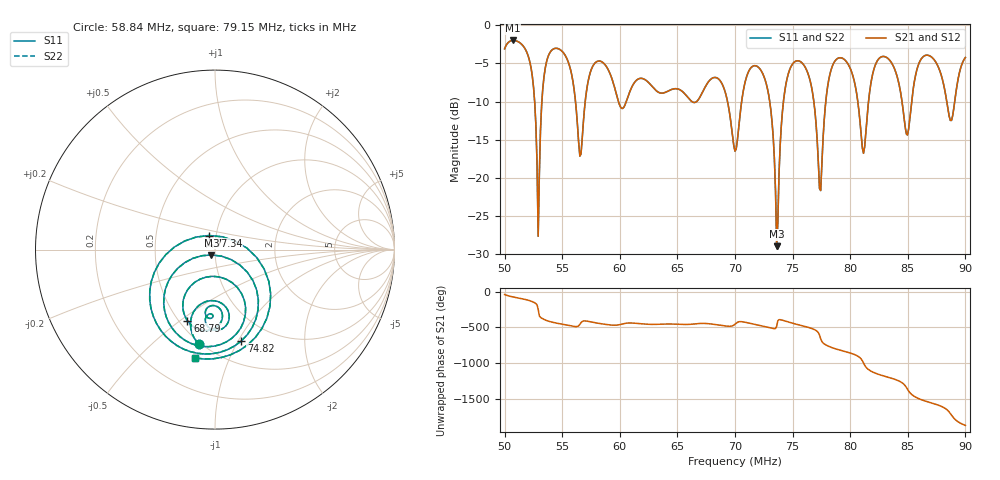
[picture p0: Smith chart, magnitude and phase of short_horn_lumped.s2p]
! Generated by Python
# HZ S RI R 50
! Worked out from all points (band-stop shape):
!   399 points, 50 MHz to 90 MHz, reference 50 ohm
!   highest |S21| = -1.98 dB at 50.7 MHz (marker M1); lowest = -29.0 dB at 73.62 MHz (marker M2)
!   |S21| within 3 dB of the highest: start of sweep to 52.22 MHz; 53.61 MHz to 55.56 MHz (1.952 MHz wide, 3.58 % of centre) (the widest 2 of 8)
!   lowest |S11| = -29.0 dB at 73.62 MHz (marker M3), VSWR 1.07, Z = 48 - j2.84 ohm
!   |S11| at or under -10 dB: 69.35 MHz to 70.58 MHz (1.228 MHz wide, 1.76 % of centre); 73.02 MHz to 74.21 MHz (1.191 MHz wide, 1.62 % of centre); 76.84 MHz to 77.88 MHz (1.04 MHz wide, 1.34 % of centre) (the widest 3 of 10)
!   |S22| runs from -29.0 to -2.0 dB; largest |S21 - S12| = 0
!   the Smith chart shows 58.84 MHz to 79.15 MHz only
!   S11 on the Smith chart (normalised r, x): 58.84 MHz: 0.49, -0.72; 68.79 MHz: 0.55, -0.53; 74.82 MHz: 0.73, -1.03; 77.34 MHz: 0.93, +0.15; 79.15 MHz: 0.39, -0.75
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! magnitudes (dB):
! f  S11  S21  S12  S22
! 50 MHz  -3.1  -3.1  -3.1  -3.1
! 50.7 MHz  -2.0  -2.0  -2.0  -2.0
! 52.41 MHz  -6.7  -6.7  -6.7  -6.7
! 52.91 MHz  -27.7  -27.7  -27.7  -27.7
! 53.22 MHz  -10.4  -10.4  -10.4  -10.4
! 53.82 MHz  -3.9  -3.9  -3.9  -3.9
! 56.73 MHz  -14.9  -14.9  -14.9  -14.9
! 58.84 MHz  -5.4  -5.4  -5.4  -5.4
! 63.37 MHz  -8.8  -8.8  -8.8  -8.8
! 68.79 MHz  -7.4  -7.4  -7.4  -7.4
! 70 MHz  -16.5  -16.5  -16.5  -16.5
! 72.41 MHz  -6.3  -6.3  -6.3  -6.3
! 73.22 MHz  -12.7  -12.7  -12.7  -12.7
! 73.62 MHz  -29.0  -29.0  -29.0  -29.0
! 74.82 MHz  -5.5  -5.5  -5.5  -5.5
! 76.73 MHz  -8.9  -8.9  -8.9  -8.9
! 77.34 MHz  -21.4  -21.4  -21.4  -21.4
! 79.15 MHz  -4.2  -4.2  -4.2  -4.2
! 81.16 MHz  -16.8  -16.8  -16.8  -16.8
! 83.37 MHz  -4.5  -4.5  -4.5  -4.5
! 84.97 MHz  -14.4  -14.4  -14.4  -14.4
! 90 MHz  -4.2  -4.2  -4.2  -4.2
